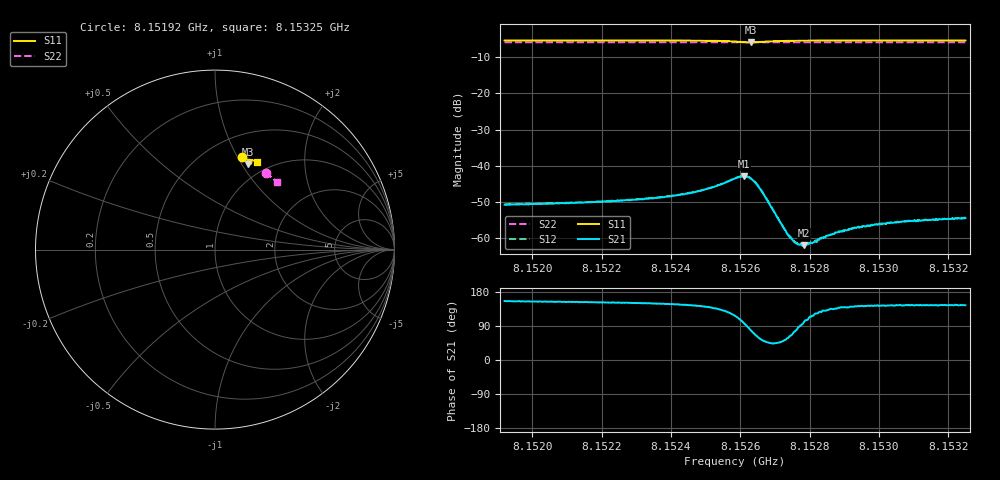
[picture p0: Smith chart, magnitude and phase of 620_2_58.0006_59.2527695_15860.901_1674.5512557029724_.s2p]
#  HZ  S  RI  R  50.00
! Rohde & Schwarz Vector Network Analyzer
! Rohde-Schwarz,ZNB20-2Port,1311601062101988,3.16
! Created: UTC 3/21/2024, 1:18:06 AM
! freq[Hz]  re:S11  im:S11  re:S21  im:S21  re:S12  im:S12  re:S22  im:S22
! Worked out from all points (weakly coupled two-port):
!   401 points, 8.15192 GHz to 8.15325 GHz, reference 50 ohm
!   highest |S21| = -42.91 dB at 8.152612 GHz (marker M1); lowest = -62.0 dB at 8.152784 GHz (marker M2)
!   lowest |S11| = -5.8 dB at 8.152632 GHz (marker M3), VSWR 3.08, Z = 41.5 + j53.4 ohm
!   |S11| at or under -10 dB: nowhere
!   |S22| runs from -5.9 to -5.8 dB; largest |S21 - S12| = 0.00014
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8.1519201e9  0.1519 0.5186  -0.00263 0.00119  -0.00265 0.00126  0.2822 0.4273
8.1521429e9  0.1679 0.5139  -0.00275 0.00143  -0.00275 0.00146  0.2938 0.4191
8.1523656e9  0.1848 0.5077  -0.0031 0.00188  -0.0031 0.00194  0.3053 0.4104
8.1524786e9  0.1951 0.5018  -0.00354 0.00269  -0.0035 0.00276  0.3109 0.4059
8.1525318e9  0.2006 0.4962  -0.00375 0.0037  -0.00374 0.00372  0.3135 0.4035
8.152585e9  0.2027 0.4832  -0.00298 0.00597  -0.00297 0.00603  0.3161 0.401
8.1526116e9  0.1952 0.4752  -0.000813 0.0071  -0.00078 0.00718  0.3167 0.3997
8.1526315e9  0.1848 0.4755  0.00144 0.00645  0.00148 0.0065  0.3173 0.3992
8.1526448e9  0.18 0.4804  0.0024 0.00522  0.00248 0.00527  0.3179 0.3989
8.1526614e9  0.1782 0.4875  0.00265 0.00359  0.00274 0.00362  0.3188 0.3986
8.1527246e9  0.1883 0.5  0.000893 0.00108  0.00092 0.00105  0.3222 0.3963
8.1527412e9  0.191 0.5006  0.000511 0.000918  0.000563 0.000931  0.3231 0.3958
8.1527645e9  0.1944 0.5009  0.000123 0.000823  0.00013 0.000839  0.3243 0.3948
8.1527745e9  0.1957 0.501  -1.67e-05 0.000811  3.94e-06 0.000841  0.3248 0.3944
8.1527844e9  0.1969 0.5008  -0.000154 0.000775  -0.000135 0.000813  0.3253 0.394
8.1528077e9  0.1995 0.5007  -0.000381 0.000752  -0.000375 0.000775  0.3266 0.3929
8.152841e9  0.2029 0.5002  -0.000658 0.000781  -0.000646 0.000801  0.3282 0.3915
8.1528908e9  0.2074 0.499  -0.000945 0.000799  -0.000903 0.000835  0.3306 0.3894
8.152934e9  0.2112 0.4978  -0.00108 0.000848  -0.00106 0.000917  0.3327 0.3876
8.1530304e9  0.2185 0.4953  -0.00129 0.000953  -0.00127 0.000976  0.3374 0.3836
8.1530803e9  0.2221 0.4938  -0.0014 0.000955  -0.00139 0.000982  0.3395 0.3814
8.1532498e9  0.2337 0.4891  -0.00154 0.0011  -0.00155 0.00106  0.3475 0.3739
